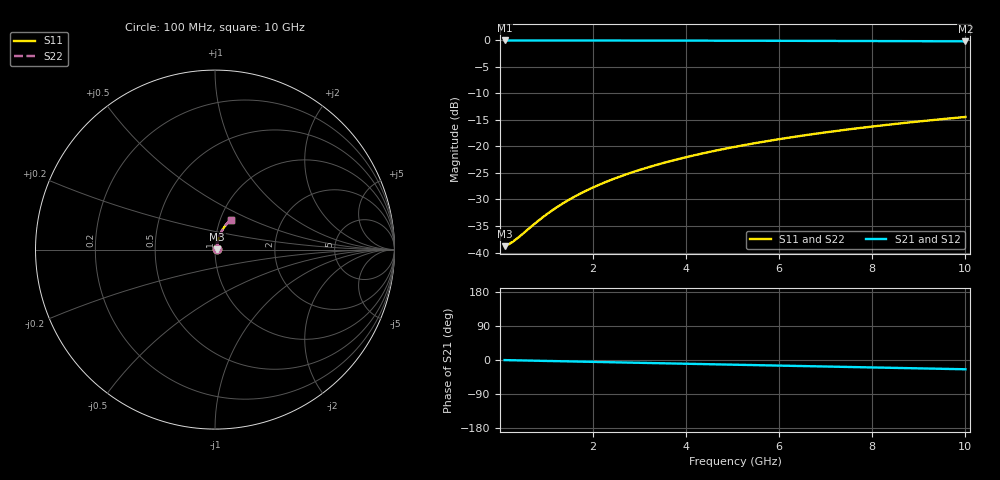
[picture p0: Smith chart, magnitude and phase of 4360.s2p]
# Hz S RI R 50.00
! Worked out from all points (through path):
!   100 points, 100 MHz to 10 GHz, reference 50 ohm
!   highest |S21| = -0.10 dB at 100 MHz (marker M1); lowest = -0.3 dB at 10 GHz (marker M2)
!   group delay of S21, straight-line fit = 6.8 ps
!   lowest |S11| = -38.8 dB at 100 MHz (marker M3), VSWR 1.02, Z = 51.1 + j0.196 ohm
!   |S11| at or under -10 dB: start of sweep to end of sweep
!   |S22| runs from -38.8 to -14.5 dB; largest |S21 - S12| = 0
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1e8  0.0113 0.00192  0.9887 -0.00427  0.9887 -0.00427  0.0113 0.00192
2e8  0.0114 0.00383  0.9886 -0.00853  0.9886 -0.00853  0.0114 0.00383
3e8  0.0115 0.00574  0.9885 -0.0128  0.9885 -0.0128  0.0115 0.00574
4e8  0.0116 0.00766  0.9883 -0.0171  0.9883 -0.0171  0.0116 0.00766
8e8  0.0121 0.0153  0.9877 -0.0341  0.9877 -0.0341  0.0121 0.0153
1.1e9  0.0127 0.021  0.987 -0.0469  0.987 -0.0469  0.0127 0.021
1.4e9  0.0134 0.0267  0.9861 -0.0596  0.9861 -0.0596  0.0134 0.0267
1.6e9  0.0139 0.0305  0.9854 -0.0681  0.9854 -0.0681  0.0139 0.0305
1.8e9  0.0145 0.0343  0.9846 -0.0766  0.9846 -0.0766  0.0145 0.0343
2.1e9  0.0155 0.0399  0.9832 -0.0893  0.9832 -0.0893  0.0155 0.0399
2.5e9  0.017 0.0474  0.9812 -0.1062  0.9812 -0.1062  0.017 0.0474
2.9e9  0.0189 0.0548  0.9787 -0.123  0.9787 -0.123  0.0189 0.0548
3.4e9  0.0215 0.064  0.9752 -0.1439  0.9752 -0.1439  0.0215 0.064
3.8e9  0.0239 0.0712  0.972 -0.1605  0.972 -0.1605  0.0239 0.0712
4.2e9  0.0265 0.0783  0.9685 -0.1771  0.9685 -0.1771  0.0265 0.0783
4.6e9  0.0293 0.0854  0.9647 -0.1935  0.9647 -0.1935  0.0293 0.0854
5.1e9  0.0332 0.094  0.9594 -0.2139  0.9594 -0.2139  0.0332 0.094
5.9e9  0.0402 0.1074  0.9499 -0.2462  0.9499 -0.2462  0.0402 0.1074
6.7e9  0.0481 0.1203  0.9392 -0.2778  0.9392 -0.2778  0.0481 0.1203
7.5e9  0.0568 0.1326  0.9273 -0.3089  0.9273 -0.3089  0.0568 0.1326
8.4e9  0.0675 0.1455  0.9126 -0.343  0.9126 -0.343  0.0675 0.1455
1e10  0.0887 0.1663  0.8829 -0.4014  0.8829 -0.4014  0.0887 0.1663
